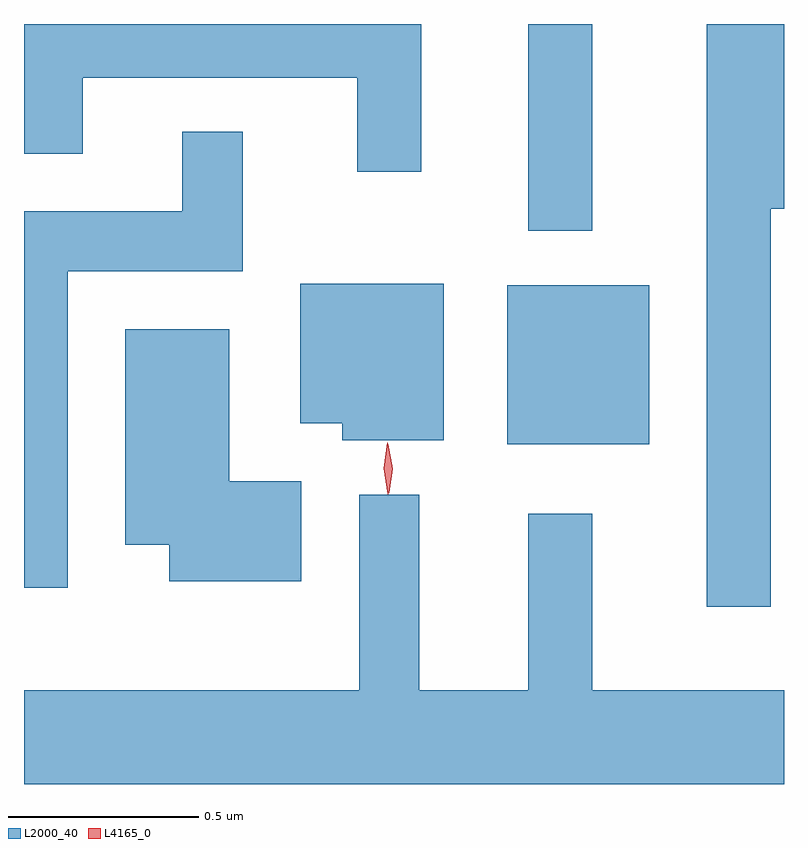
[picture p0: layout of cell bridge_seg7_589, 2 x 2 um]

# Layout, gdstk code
import gdstk
lib = gdstk.Library(unit=1e-6, precision=1e-09)
def R(c, l, rs):  # rectangles x0, y0, x1, y1
    for r in rs: c.add(gdstk.rectangle(r[:2], r[2:], *l))
def P(c, l, *ps):  # polygons
    for p in ps: c.add(gdstk.Polygon(p, *l))
L2000_40 = (2000, 40)
L4165_0 = (4165, 0)

bridge_seg7_589 = lib.new_cell('bridge_seg7_589')
R(bridge_seg7_589, L2000_40, [(978.976,1739.651,979.349,1740.069), (979.031,1740.213,979.199,1740.757)])
P(bridge_seg7_589, L2000_40, [(978.749,1740.757),(977.704,1740.757),(977.704,1740.416),(977.859,1740.416),(977.859,1740.616),(978.581,1740.616),(978.581,1740.368),(978.749,1740.368)],
  [(979.669,1740.271),(979.704,1740.271),(979.704,1740.757),(979.501,1740.757),(979.501,1739.223),(979.669,1739.223)],
  [(977.819,1740.106),(978.279,1740.106),(978.279,1740.473),(978.121,1740.473),(978.121,1740.264),(977.704,1740.264),(977.704,1739.273),(977.819,1739.273)],
  [(978.809,1740.074),(978.431,1740.074),(978.431,1739.706),(978.541,1739.706),(978.541,1739.661),(978.809,1739.661)],
  [(978.434,1739.554),(978.244,1739.554),(978.244,1739.954),(977.971,1739.954),(977.971,1739.386),(978.086,1739.386),(978.086,1739.291),(978.434,1739.291)],
  [(979.704,1739.004),(979.199,1739.004),(979.199,1739.468),(979.031,1739.468),(979.031,1739.004),(978.744,1739.004),(978.744,1739.518),(978.586,1739.518),(978.586,1739.004),(977.704,1739.004),(977.704,1738.757),(979.704,1738.757)])
P(bridge_seg7_589, L4165_0, [(978.661,1739.52),(978.651,1739.588),(978.66,1739.655),(978.66,1739.655),(978.661,1739.655),(978.671,1739.588),(978.662,1739.52),(978.662,1739.52)],
  [(978.664,1739.523),(978.664,1739.524),(978.654,1739.587),(978.662,1739.651),(978.663,1739.651),(978.663,1739.651),(978.674,1739.587),(978.665,1739.524)])

lib.write_gds('bridge_seg7_589.gds')
